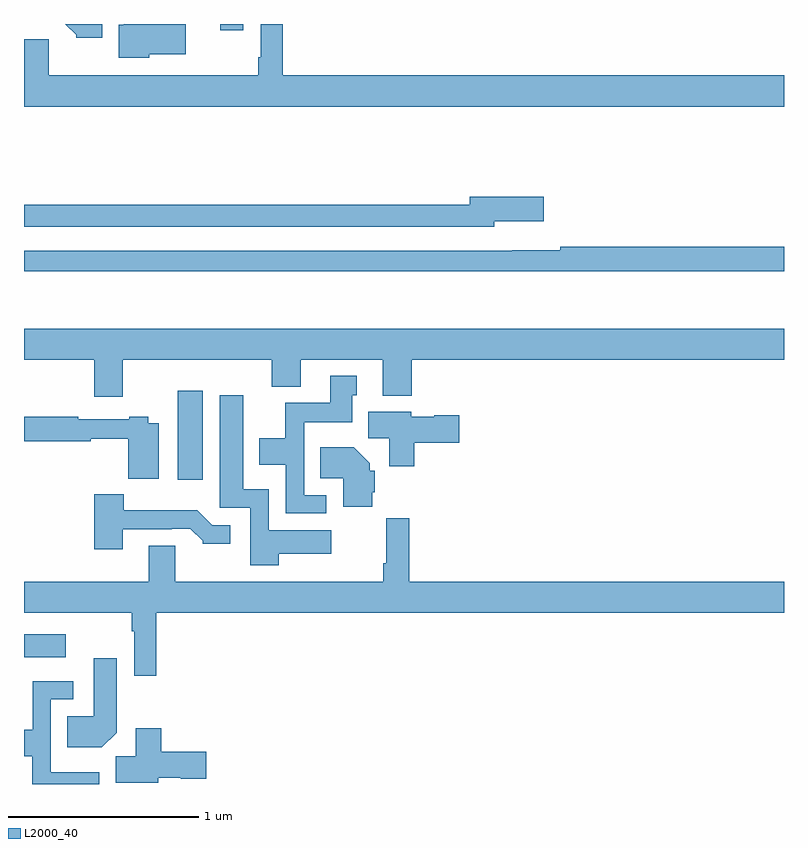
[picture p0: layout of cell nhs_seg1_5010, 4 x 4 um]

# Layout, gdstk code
import gdstk
lib = gdstk.Library(unit=1e-6, precision=1e-09)
def R(c, l, rs):  # rectangles x0, y0, x1, y1
    for r in rs: c.add(gdstk.rectangle(r[:2], r[2:], *l))
def P(c, l, *ps):  # polygons
    for p in ps: c.add(gdstk.Polygon(p, *l))
L2000_40 = (2000, 40)

nhs_seg1_5010 = lib.new_cell('nhs_seg1_5010')
R(nhs_seg1_5010, L2000_40, [(383,516.866,383.221,516.988), (383.81,517.8,383.941,518.269), (384.032,520.167,384.154,520.199)])
P(nhs_seg1_5010, L2000_40, [(383.658,520.04),(383.851,520.04),(383.851,520.198),(383.622,520.198),(383.622,520.199),(383.526,520.199),(383.526,520.194),(383.498,520.194),(383.498,520.022),(383.658,520.022)],
  [(387,519.928),(384.362,519.928),(384.362,520.199),(384.246,520.199),(384.246,520.024),(384.234,520.024),(384.234,519.928),(383.131,519.928),(383.131,520.118),(383,520.118),(383,519.764),(387,519.764)],
  [(383.413,520.199),(383.217,520.199),(383.274,520.142),(383.274,520.127),(383.413,520.127)],
  [(385.474,519.161),(385.735,519.161),(385.735,519.291),(385.346,519.291),(385.346,519.248),(383,519.248),(383,519.132),(385.474,519.132)],
  [(387,519.026),(385.822,519.026),(385.822,519.007),(385.57,519.007),(385.57,519.006),(383,519.006),(383,518.898),(387,518.898)],
  [(383.521,518.432),(384.305,518.432),(384.305,518.291),(384.457,518.291),(384.457,518.432),(384.887,518.432),(384.887,518.243),(385.04,518.243),(385.04,518.432),(387,518.432),(387,518.596),(383,518.596),(383,518.432),(383.369,518.432),(383.369,518.238),(383.521,518.238)],
  [(384.592,517.719),(384.474,517.719),(384.474,518.102),(384.727,518.102),(384.727,518.244),(384.751,518.244),(384.751,518.347),(384.611,518.347),(384.611,518.206),(384.376,518.206),(384.376,518.02),(384.239,518.02),(384.239,517.88),(384.378,517.88),(384.378,517.623),(384.592,517.623)],
  [(384.341,517.412),(384.616,517.412),(384.616,517.534),(384.288,517.534),(384.288,517.75),(384.154,517.75),(384.154,518.245),(384.029,518.245),(384.029,517.653),(384.192,517.653),(384.192,517.35),(384.341,517.35)],
  [(385.055,517.996),(385.291,517.996),(385.291,518.139),(385.158,518.139),(385.158,518.131),(385.038,518.131),(385.038,518.158),(384.812,518.158),(384.812,518.02),(384.923,518.02),(384.923,517.871),(385.055,517.871)],
  [(383.71,518.098),(383.655,518.098),(383.655,518.131),(383.555,518.131),(383.555,518.118),(383.285,518.118),(383.285,518.131),(383,518.131),(383,518.002),(383.35,518.002),(383.35,518.017),(383.548,518.017),(383.548,517.805),(383.71,517.805)],
  [(384.833,517.734),(384.846,517.734),(384.846,517.848),(384.82,517.848),(384.82,517.887),(384.736,517.972),(384.559,517.972),(384.559,517.808),(384.68,517.808),(384.68,517.658),(384.833,517.658)],
  [(383.521,517.539),(383.777,517.539),(383.777,517.542),(383.876,517.542),(383.94,517.478),(383.94,517.463),(384.085,517.463),(384.085,517.56),(383.991,517.56),(383.913,517.639),(383.524,517.639),(383.524,517.723),(383.369,517.723),(383.369,517.434),(383.521,517.434)],
  [(383.696,517.1),(387,517.1),(387,517.264),(385.028,517.264),(385.028,517.597),(384.907,517.597),(384.907,517.36),(384.892,517.36),(384.892,517.264),(383.797,517.264),(383.797,517.454),(383.657,517.454),(383.657,517.264),(383,517.264),(383,517.1),(383.568,517.1),(383.568,517.004),(383.58,517.004),(383.58,516.768),(383.696,516.768)],
  [(383.488,516.47),(383.488,516.862),(383.366,516.862),(383.366,516.556),(383.227,516.556),(383.227,516.392),(383.41,516.392)],
  [(383.395,516.262),(383.142,516.262),(383.142,516.645),(383.26,516.645),(383.26,516.741),(383.046,516.741),(383.046,516.484),(383,516.484),(383,516.344),(383.044,516.344),(383.044,516.199),(383.395,516.199)],
  [(383.706,516.233),(383.826,516.233),(383.826,516.226),(383.959,516.226),(383.959,516.368),(383.723,516.368),(383.723,516.493),(383.588,516.493),(383.588,516.344),(383.483,516.344),(383.483,516.206),(383.706,516.206)])

lib.write_gds('nhs_seg1_5010.gds')
